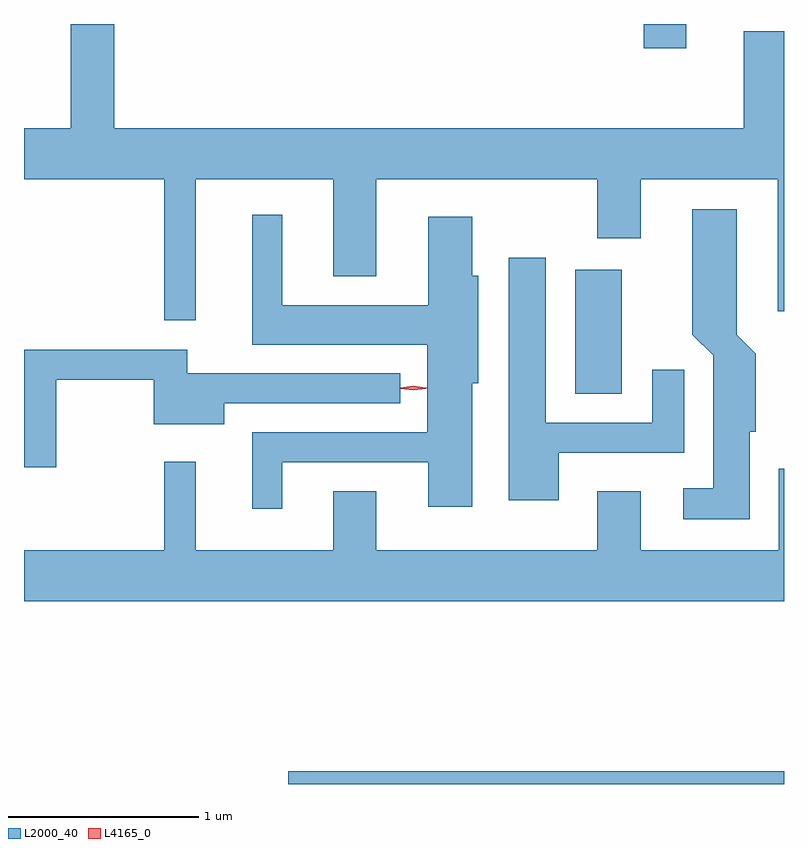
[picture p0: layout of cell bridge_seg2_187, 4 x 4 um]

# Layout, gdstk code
import gdstk
lib = gdstk.Library(unit=1e-6, precision=1e-09)
def R(c, l, rs):  # rectangles x0, y0, x1, y1
    for r in rs: c.add(gdstk.rectangle(r[:2], r[2:], *l))
def P(c, l, *ps):  # polygons
    for p in ps: c.add(gdstk.Polygon(p, *l))
L2000_40 = (2000, 40)
L4165_0 = (4165, 0)

bridge_seg2_187 = lib.new_cell('bridge_seg2_187')
R(bridge_seg2_187, L2000_40, [(724.016,1027.373,726.624,1027.439), (725.526,1029.426,725.769,1030.079), (725.886,1031.246,726.109,1031.373)])
P(bridge_seg2_187, L2000_40, [(723.529,1030.556),(724.251,1030.556),(724.251,1030.046),(724.479,1030.046),(724.479,1030.556),(725.641,1030.556),(725.641,1030.246),(725.869,1030.246),(725.869,1030.556),(726.591,1030.556),(726.591,1029.861),(726.624,1029.861),(726.624,1031.334),(726.411,1031.334),(726.411,1030.824),(723.099,1030.824),(723.099,1031.373),(722.871,1031.373),(722.871,1030.824),(722.624,1030.824),(722.624,1030.556),(723.361,1030.556),(723.361,1029.813),(723.529,1029.813)],
  [(726.444,1029.226),(726.474,1029.226),(726.474,1029.637),(726.374,1029.737),(726.374,1030.399),(726.141,1030.399),(726.141,1029.738),(726.251,1029.629),(726.251,1028.929),(726.093,1028.929),(726.093,1028.766),(726.444,1028.766)],
  [(723.984,1029.066),(724.751,1029.066),(724.751,1028.831),(724.984,1028.831),(724.984,1029.481),(725.014,1029.481),(725.014,1030.049),(724.984,1030.049),(724.984,1030.359),(724.751,1030.359),(724.751,1029.894),(723.984,1029.894),(723.984,1030.368),(723.826,1030.368),(723.826,1029.686),(724.746,1029.686),(724.746,1029.224),(723.826,1029.224),(723.826,1028.823),(723.984,1028.823)],
  [(725.439,1029.116),(726.099,1029.116),(726.099,1029.553),(725.931,1029.553),(725.931,1029.274),(725.369,1029.274),(725.369,1030.144),(725.176,1030.144),(725.176,1028.866),(725.439,1028.866)],
  [(722.794,1029.501),(723.306,1029.501),(723.306,1029.266),(723.679,1029.266),(723.679,1029.376),(724.603,1029.376),(724.603,1029.534),(723.484,1029.534),(723.484,1029.659),(722.624,1029.659),(722.624,1029.041),(722.794,1029.041)],
  [(726.624,1029.033),(726.596,1029.033),(726.596,1028.604),(725.869,1028.604),(725.869,1028.914),(725.641,1028.914),(725.641,1028.604),(724.479,1028.604),(724.479,1028.914),(724.251,1028.914),(724.251,1028.604),(723.529,1028.604),(723.529,1029.068),(723.361,1029.068),(723.361,1028.604),(722.624,1028.604),(722.624,1028.336),(726.624,1028.336)])
P(bridge_seg2_187, L4165_0, [(724.673,1029.448),(724.604,1029.457),(724.604,1029.458),(724.604,1029.458),(724.673,1029.468),(724.742,1029.459),(724.743,1029.458),(724.742,1029.458)],
  [(724.673,1029.445),(724.608,1029.454),(724.607,1029.455),(724.608,1029.455),(724.673,1029.465),(724.739,1029.455),(724.74,1029.455),(724.739,1029.454)])

lib.write_gds('bridge_seg2_187.gds')
